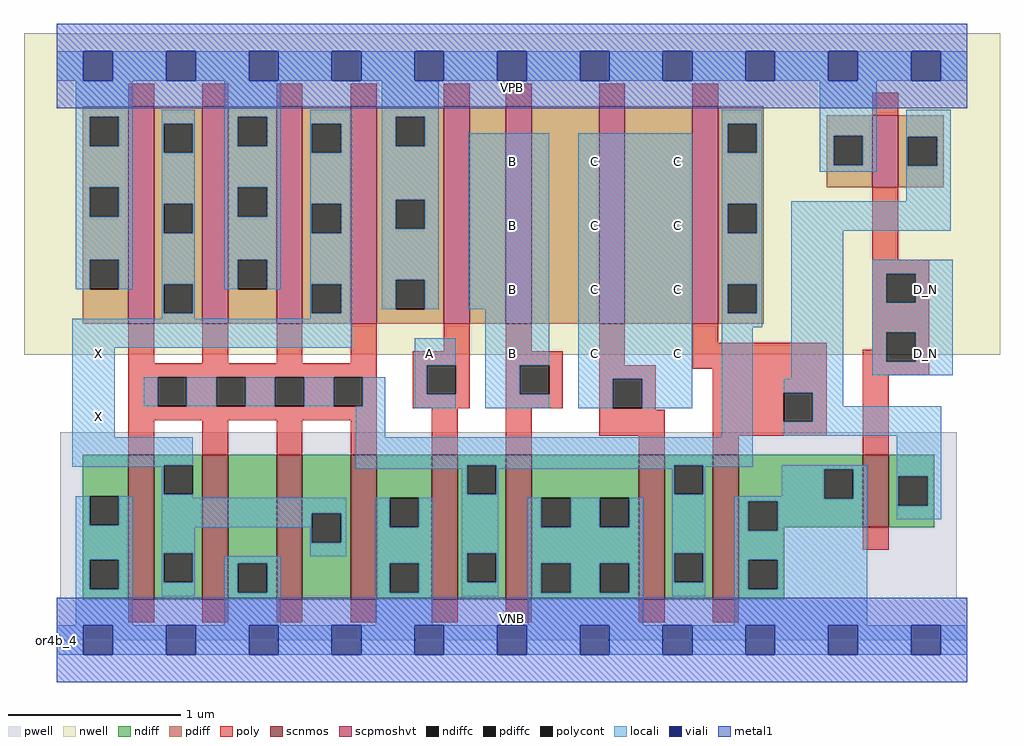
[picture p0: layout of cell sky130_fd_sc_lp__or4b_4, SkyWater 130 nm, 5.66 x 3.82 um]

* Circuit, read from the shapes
.subckt sky130_fd_sc_lp__or4b_4 A B C D_N VGND VNB VPB VPWR X
XM1 X n1 VGND VNB sky130_fd_pr__nfet_01v8 w=0.84 l=0.15 m=4
XM2 n1 A VGND VNB sky130_fd_pr__nfet_01v8 w=0.84 l=0.15
XM3 VGND B n1 VNB sky130_fd_pr__nfet_01v8 w=0.84 l=0.15
XM4 n1 C VGND VNB sky130_fd_pr__nfet_01v8 w=0.84 l=0.15
XM5 VGND n2 n1 VNB sky130_fd_pr__nfet_01v8 w=0.84 l=0.15
XM6 n2 D_N VGND VNB sky130_fd_pr__nfet_01v8 w=0.42 l=0.15
XM7 X n1 VPWR VPB sky130_fd_pr__pfet_01v8_hvt w=1.26 l=0.15 m=4
XM8 n3 A VPWR VPB sky130_fd_pr__pfet_01v8_hvt w=1.26 l=0.15
XM9 n4 B n3 VPB sky130_fd_pr__pfet_01v8_hvt w=1.26 l=0.15
XM10 n5 C n4 VPB sky130_fd_pr__pfet_01v8_hvt w=1.26 l=0.15
XM11 n1 n2 n5 VPB sky130_fd_pr__pfet_01v8_hvt w=1.26 l=0.15
XM12 n2 D_N VPWR VPB sky130_fd_pr__pfet_01v8_hvt w=0.42 l=0.15
.ends

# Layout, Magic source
magic
tech sky130A
magscale 1 2
<< nwell >>
rect -38 331 1094 704
<< pwell >>
rect 4 49 1044 241
rect 0 0 1056 49
<< scnmos >>
rect 83 47 113 215
rect 169 47 199 215
rect 255 47 285 215
rect 341 47 371 215
rect 435 47 465 215
rect 521 47 551 215
rect 675 47 705 215
rect 761 47 791 215
rect 935 131 965 215
<< scpmoshvt >>
rect 83 367 113 619
rect 169 367 199 619
rect 255 367 285 619
rect 341 367 371 619
rect 449 367 479 619
rect 521 367 551 619
rect 629 367 659 619
rect 737 367 767 619
rect 946 525 976 609
<< ndiff >>
rect 30 167 83 215
rect 30 133 38 167
rect 72 133 83 167
rect 30 93 83 133
rect 30 59 38 93
rect 72 59 83 93
rect 30 47 83 59
rect 113 203 169 215
rect 113 169 124 203
rect 158 169 169 203
rect 113 101 169 169
rect 113 67 124 101
rect 158 67 169 101
rect 113 47 169 67
rect 199 89 255 215
rect 199 55 210 89
rect 244 55 255 89
rect 199 47 255 55
rect 285 147 341 215
rect 285 113 296 147
rect 330 113 341 147
rect 285 47 341 113
rect 371 165 435 215
rect 371 131 386 165
rect 420 131 435 165
rect 371 89 435 131
rect 371 55 386 89
rect 420 55 435 89
rect 371 47 435 55
rect 465 203 521 215
rect 465 169 476 203
rect 510 169 521 203
rect 465 101 521 169
rect 465 67 476 101
rect 510 67 521 101
rect 465 47 521 67
rect 551 165 675 215
rect 551 131 562 165
rect 596 131 630 165
rect 664 131 675 165
rect 551 89 675 131
rect 551 55 562 89
rect 596 55 630 89
rect 664 55 675 89
rect 551 47 675 55
rect 705 203 761 215
rect 705 169 716 203
rect 750 169 761 203
rect 705 101 761 169
rect 705 67 716 101
rect 750 67 761 101
rect 705 47 761 67
rect 791 198 935 215
rect 791 164 890 198
rect 924 164 935 198
rect 791 161 935 164
rect 791 127 802 161
rect 836 131 935 161
rect 965 190 1018 215
rect 965 156 976 190
rect 1010 156 1018 190
rect 965 131 1018 156
rect 836 127 844 131
rect 791 93 844 127
rect 791 59 802 93
rect 836 59 844 93
rect 791 47 844 59
<< pdiff >>
rect 30 607 83 619
rect 30 573 38 607
rect 72 573 83 607
rect 30 525 83 573
rect 30 491 38 525
rect 72 491 83 525
rect 30 441 83 491
rect 30 407 38 441
rect 72 407 83 441
rect 30 367 83 407
rect 113 599 169 619
rect 113 565 124 599
rect 158 565 169 599
rect 113 506 169 565
rect 113 472 124 506
rect 158 472 169 506
rect 113 413 169 472
rect 113 379 124 413
rect 158 379 169 413
rect 113 367 169 379
rect 199 607 255 619
rect 199 573 210 607
rect 244 573 255 607
rect 199 525 255 573
rect 199 491 210 525
rect 244 491 255 525
rect 199 441 255 491
rect 199 407 210 441
rect 244 407 255 441
rect 199 367 255 407
rect 285 599 341 619
rect 285 565 296 599
rect 330 565 341 599
rect 285 506 341 565
rect 285 472 296 506
rect 330 472 341 506
rect 285 413 341 472
rect 285 379 296 413
rect 330 379 341 413
rect 285 367 341 379
rect 371 607 449 619
rect 371 573 393 607
rect 427 573 449 607
rect 371 511 449 573
rect 371 477 393 511
rect 427 477 449 511
rect 371 418 449 477
rect 371 384 393 418
rect 427 384 449 418
rect 371 367 449 384
rect 479 367 521 619
rect 551 367 629 619
rect 659 367 737 619
rect 767 599 820 619
rect 767 565 778 599
rect 812 565 820 599
rect 767 506 820 565
rect 893 585 946 609
rect 893 551 901 585
rect 935 551 946 585
rect 893 525 946 551
rect 976 584 1029 609
rect 976 550 987 584
rect 1021 550 1029 584
rect 976 525 1029 550
rect 767 472 778 506
rect 812 472 820 506
rect 767 413 820 472
rect 767 379 778 413
rect 812 379 820 413
rect 767 367 820 379
<< ndiffc >>
rect 38 133 72 167
rect 38 59 72 93
rect 124 169 158 203
rect 124 67 158 101
rect 210 55 244 89
rect 296 113 330 147
rect 386 131 420 165
rect 386 55 420 89
rect 476 169 510 203
rect 476 67 510 101
rect 562 131 596 165
rect 630 131 664 165
rect 562 55 596 89
rect 630 55 664 89
rect 716 169 750 203
rect 716 67 750 101
rect 890 164 924 198
rect 802 127 836 161
rect 976 156 1010 190
rect 802 59 836 93
<< pdiffc >>
rect 38 573 72 607
rect 38 491 72 525
rect 38 407 72 441
rect 124 565 158 599
rect 124 472 158 506
rect 124 379 158 413
rect 210 573 244 607
rect 210 491 244 525
rect 210 407 244 441
rect 296 565 330 599
rect 296 472 330 506
rect 296 379 330 413
rect 393 573 427 607
rect 393 477 427 511
rect 393 384 427 418
rect 778 565 812 599
rect 901 551 935 585
rect 987 550 1021 584
rect 778 472 812 506
rect 778 379 812 413
<< poly >>
rect 83 619 113 645
rect 169 619 199 645
rect 255 619 285 645
rect 341 619 371 645
rect 449 619 479 645
rect 521 619 551 645
rect 629 619 659 645
rect 737 619 767 645
rect 946 609 976 635
rect 946 441 976 525
rect 946 425 1012 441
rect 946 391 962 425
rect 996 391 1012 425
rect 83 321 113 367
rect 169 321 199 367
rect 255 321 285 367
rect 341 321 371 367
rect 449 335 479 367
rect 83 305 371 321
rect 83 271 117 305
rect 151 271 185 305
rect 219 271 253 305
rect 287 271 321 305
rect 355 271 371 305
rect 83 255 371 271
rect 413 319 479 335
rect 413 285 429 319
rect 463 285 479 319
rect 413 269 479 285
rect 521 335 551 367
rect 521 319 587 335
rect 521 285 537 319
rect 571 285 587 319
rect 521 269 587 285
rect 629 319 659 367
rect 737 345 767 367
rect 946 357 1012 391
rect 629 303 695 319
rect 737 315 893 345
rect 946 337 962 357
rect 629 269 645 303
rect 679 269 695 303
rect 83 215 113 255
rect 169 215 199 255
rect 255 215 285 255
rect 341 215 371 255
rect 435 215 465 269
rect 521 215 551 269
rect 629 267 695 269
rect 761 287 893 315
rect 629 237 705 267
rect 675 215 705 237
rect 761 253 843 287
rect 877 253 893 287
rect 761 237 893 253
rect 935 323 962 337
rect 996 323 1012 357
rect 935 307 1012 323
rect 761 215 791 237
rect 935 215 965 307
rect 935 105 965 131
rect 83 21 113 47
rect 169 21 199 47
rect 255 21 285 47
rect 341 21 371 47
rect 435 21 465 47
rect 521 21 551 47
rect 675 21 705 47
rect 761 21 791 47
<< polycont >>
rect 962 391 996 425
rect 117 271 151 305
rect 185 271 219 305
rect 253 271 287 305
rect 321 271 355 305
rect 429 285 463 319
rect 537 285 571 319
rect 645 269 679 303
rect 843 253 877 287
rect 962 323 996 357
<< locali >>
rect 0 649 31 683
rect 65 649 127 683
rect 161 649 223 683
rect 257 649 319 683
rect 353 649 415 683
rect 449 649 511 683
rect 545 649 607 683
rect 641 649 703 683
rect 737 649 799 683
rect 833 649 895 683
rect 929 649 991 683
rect 1025 649 1056 683
rect 22 607 88 649
rect 22 573 38 607
rect 72 573 88 607
rect 22 525 88 573
rect 22 491 38 525
rect 72 491 88 525
rect 22 441 88 491
rect 22 407 38 441
rect 72 407 88 441
rect 122 599 160 615
rect 122 565 124 599
rect 158 565 160 599
rect 122 506 160 565
rect 122 472 124 506
rect 158 472 160 506
rect 122 413 160 472
rect 122 379 124 413
rect 158 379 160 413
rect 194 607 260 649
rect 194 573 210 607
rect 244 573 260 607
rect 194 525 260 573
rect 194 491 210 525
rect 244 491 260 525
rect 194 441 260 491
rect 194 407 210 441
rect 244 407 260 441
rect 294 599 343 615
rect 294 565 296 599
rect 330 565 343 599
rect 294 506 343 565
rect 294 472 296 506
rect 330 472 343 506
rect 294 413 343 472
rect 122 373 160 379
rect 294 379 296 413
rect 330 379 343 413
rect 377 607 443 649
rect 377 573 393 607
rect 427 573 443 607
rect 771 599 818 615
rect 377 511 443 573
rect 377 477 393 511
rect 427 477 443 511
rect 377 418 443 477
rect 377 384 393 418
rect 427 384 443 418
rect 477 384 571 588
rect 294 373 343 379
rect 18 339 343 373
rect 18 235 67 339
rect 415 319 463 350
rect 101 271 117 305
rect 151 271 185 305
rect 219 271 253 305
rect 287 271 321 305
rect 355 271 381 305
rect 347 235 381 271
rect 415 285 429 319
rect 415 269 463 285
rect 497 319 571 384
rect 497 285 537 319
rect 497 269 571 285
rect 605 303 737 588
rect 605 269 645 303
rect 679 269 737 303
rect 771 565 778 599
rect 812 565 818 599
rect 771 506 818 565
rect 885 585 951 649
rect 885 551 901 585
rect 935 551 951 585
rect 885 543 951 551
rect 985 584 1037 615
rect 985 550 987 584
rect 1021 550 1037 584
rect 985 509 1037 550
rect 771 472 778 506
rect 812 472 818 506
rect 771 413 818 472
rect 771 379 778 413
rect 812 379 818 413
rect 771 363 818 379
rect 852 475 1037 509
rect 771 235 807 363
rect 852 303 912 475
rect 946 425 1039 441
rect 946 391 962 425
rect 996 391 1039 425
rect 946 357 1039 391
rect 946 323 962 357
rect 996 323 1039 357
rect 946 307 1039 323
rect 843 287 912 303
rect 877 271 912 287
rect 877 253 1026 271
rect 843 237 1026 253
rect 18 203 158 235
rect 18 201 124 203
rect 122 169 124 201
rect 347 203 807 235
rect 347 199 476 203
rect 22 133 38 167
rect 72 133 88 167
rect 22 93 88 133
rect 22 59 38 93
rect 72 59 88 93
rect 22 17 88 59
rect 122 165 158 169
rect 470 169 476 199
rect 510 199 716 203
rect 510 169 512 199
rect 122 147 336 165
rect 122 131 296 147
rect 122 101 160 131
rect 122 67 124 101
rect 158 67 160 101
rect 294 113 296 131
rect 330 113 336 147
rect 294 97 336 113
rect 370 131 386 165
rect 420 131 436 165
rect 122 51 160 67
rect 194 89 260 97
rect 194 55 210 89
rect 244 55 260 89
rect 194 17 260 55
rect 370 89 436 131
rect 370 55 386 89
rect 420 55 436 89
rect 370 17 436 55
rect 470 101 512 169
rect 714 169 716 199
rect 750 201 807 203
rect 750 169 752 201
rect 470 67 476 101
rect 510 67 512 101
rect 470 51 512 67
rect 546 131 562 165
rect 596 131 630 165
rect 664 131 680 165
rect 546 89 680 131
rect 546 55 562 89
rect 596 55 630 89
rect 664 55 680 89
rect 546 17 680 55
rect 714 101 752 169
rect 841 198 940 203
rect 841 167 890 198
rect 714 67 716 101
rect 750 67 752 101
rect 714 51 752 67
rect 786 164 890 167
rect 924 164 940 198
rect 786 161 940 164
rect 786 127 802 161
rect 836 127 940 161
rect 974 190 1026 237
rect 974 156 976 190
rect 1010 156 1026 190
rect 974 140 1026 156
rect 786 93 940 127
rect 786 59 802 93
rect 836 59 940 93
rect 786 17 940 59
rect 0 -17 31 17
rect 65 -17 127 17
rect 161 -17 223 17
rect 257 -17 319 17
rect 353 -17 415 17
rect 449 -17 511 17
rect 545 -17 607 17
rect 641 -17 703 17
rect 737 -17 799 17
rect 833 -17 895 17
rect 929 -17 991 17
rect 1025 -17 1056 17
<< viali >>
rect 31 649 65 683
rect 127 649 161 683
rect 223 649 257 683
rect 319 649 353 683
rect 415 649 449 683
rect 511 649 545 683
rect 607 649 641 683
rect 703 649 737 683
rect 799 649 833 683
rect 895 649 929 683
rect 991 649 1025 683
rect 31 -17 65 17
rect 127 -17 161 17
rect 223 -17 257 17
rect 319 -17 353 17
rect 415 -17 449 17
rect 511 -17 545 17
rect 607 -17 641 17
rect 703 -17 737 17
rect 799 -17 833 17
rect 895 -17 929 17
rect 991 -17 1025 17
<< metal1 >>
rect 0 683 1056 715
rect 0 649 31 683
rect 65 649 127 683
rect 161 649 223 683
rect 257 649 319 683
rect 353 649 415 683
rect 449 649 511 683
rect 545 649 607 683
rect 641 649 703 683
rect 737 649 799 683
rect 833 649 895 683
rect 929 649 991 683
rect 1025 649 1056 683
rect 0 617 1056 649
rect 0 17 1056 49
rect 0 -17 31 17
rect 65 -17 127 17
rect 161 -17 223 17
rect 257 -17 319 17
rect 353 -17 415 17
rect 449 -17 511 17
rect 545 -17 607 17
rect 641 -17 703 17
rect 737 -17 799 17
rect 833 -17 895 17
rect 929 -17 991 17
rect 1025 -17 1056 17
rect 0 -49 1056 -17
<< labels >>
flabel pwell s 0 0 1056 49 0 FreeSans 200 0 0 0 VNB
port 6 nsew ground bidirectional
flabel nwell s 0 617 1056 666 0 FreeSans 200 0 0 0 VPB
port 7 nsew power bidirectional
rlabel comment s 0 0 0 0 4 or4b_4
flabel metal1 s 0 617 1056 666 0 FreeSans 340 0 0 0 VPWR
port 8 nsew power bidirectional
flabel metal1 s 0 0 1056 49 0 FreeSans 340 0 0 0 VGND
port 5 nsew ground bidirectional
flabel locali s 415 316 449 350 0 FreeSans 340 0 0 0 A
port 1 nsew signal input
flabel locali s 511 316 545 350 0 FreeSans 340 0 0 0 B
port 2 nsew signal input
flabel locali s 511 390 545 424 0 FreeSans 340 0 0 0 B
port 2 nsew signal input
flabel locali s 511 464 545 498 0 FreeSans 340 0 0 0 B
port 2 nsew signal input
flabel locali s 511 538 545 572 0 FreeSans 340 0 0 0 B
port 2 nsew signal input
flabel locali s 607 316 641 350 0 FreeSans 340 0 0 0 C
port 3 nsew signal input
flabel locali s 607 390 641 424 0 FreeSans 340 0 0 0 C
port 3 nsew signal input
flabel locali s 607 464 641 498 0 FreeSans 340 0 0 0 C
port 3 nsew signal input
flabel locali s 607 538 641 572 0 FreeSans 340 0 0 0 C
port 3 nsew signal input
flabel locali s 703 316 737 350 0 FreeSans 340 0 0 0 C
port 3 nsew signal input
flabel locali s 703 390 737 424 0 FreeSans 340 0 0 0 C
port 3 nsew signal input
flabel locali s 703 464 737 498 0 FreeSans 340 0 0 0 C
port 3 nsew signal input
flabel locali s 703 538 737 572 0 FreeSans 340 0 0 0 C
port 3 nsew signal input
flabel locali s 991 316 1025 350 0 FreeSans 340 0 0 0 D_N
port 4 nsew signal input
flabel locali s 991 390 1025 424 0 FreeSans 340 0 0 0 D_N
port 4 nsew signal input
flabel locali s 31 242 65 276 0 FreeSans 340 0 0 0 X
port 9 nsew signal output
flabel locali s 31 316 65 350 0 FreeSans 340 0 0 0 X
port 9 nsew signal output
<< properties >>
string LEFsite unit
string LEFclass CORE
string FIXED_BBOX 0 0 1056 666
string GDS_FILE $PDKPATH/libs.ref/sky130_fd_sc_lp/gds/sky130_fd_sc_lp.gds
string LEFsymmetry X Y R90
string GDS_END 2943124
string GDS_START 2932838
<< end >>
